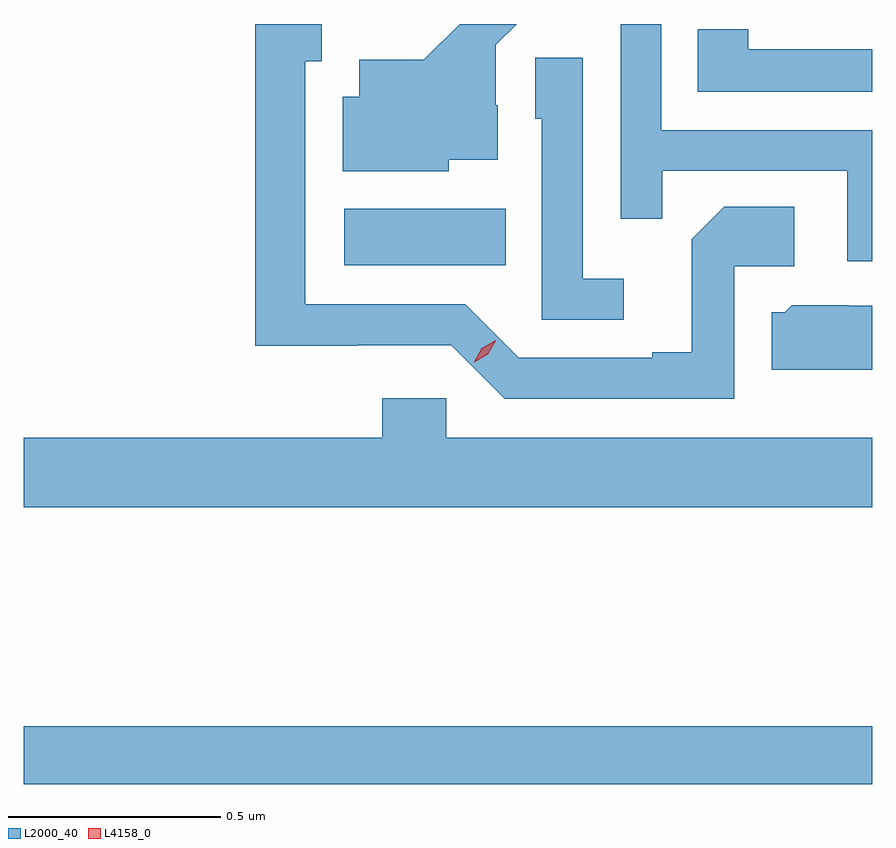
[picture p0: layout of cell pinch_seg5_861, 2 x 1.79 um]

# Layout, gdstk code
import gdstk
lib = gdstk.Library(unit=1e-6, precision=1e-09)
def R(c, l, rs):  # rectangles x0, y0, x1, y1
    for r in rs: c.add(gdstk.rectangle(r[:2], r[2:], *l))
def P(c, l, *ps):  # polygons
    for p in ps: c.add(gdstk.Polygon(p, *l))
L2000_40 = (2000, 40)
L4158_0 = (4158, 0)

pinch_seg5_861 = lib.new_cell('pinch_seg5_861')
R(pinch_seg5_861, L2000_40, [(772.65,890.74,774.65,890.876), (773.406,891.962,773.786,892.096)])
P(pinch_seg5_861, L2000_40, [(774.324,891.96),(774.466,891.96),(774.466,892.1),(774.301,892.1),(774.225,892.024),(774.225,891.757),(774.131,891.757),(774.131,891.744),(773.817,891.744),(773.691,891.87),(773.314,891.87),(773.314,892.443),(773.353,892.443),(773.353,892.531),(773.196,892.531),(773.196,891.773),(773.436,891.773),(773.436,891.774),(773.658,891.774),(773.784,891.648),(774.324,891.648)],
  [(773.652,892.211),(773.767,892.211),(773.767,892.34),(773.763,892.34),(773.763,892.482),(773.812,892.531),(773.678,892.531),(773.593,892.447),(773.441,892.447),(773.441,892.36),(773.402,892.36),(773.402,892.184),(773.652,892.184)],
  [(774.65,892.281),(774.153,892.281),(774.153,892.531),(774.057,892.531),(774.057,892.072),(774.155,892.072),(774.155,892.185),(774.591,892.185),(774.591,891.972),(774.65,891.972)],
  [(774.65,892.472),(774.357,892.472),(774.357,892.519),(774.238,892.519),(774.238,892.371),(774.65,892.371)],
  [(774.064,891.931),(773.967,891.931),(773.967,892.451),(773.856,892.451),(773.856,892.308),(773.871,892.308),(773.871,891.834),(774.064,891.834)],
  [(774.65,891.867),(774.594,891.867),(774.594,891.868),(774.46,891.868),(774.444,891.852),(774.413,891.852),(774.413,891.716),(774.65,891.716)],
  [(774.65,891.556),(773.646,891.556),(773.646,891.649),(773.495,891.649),(773.495,891.556),(772.65,891.556),(772.65,891.392),(774.65,891.392)])
P(pinch_seg5_861, L4158_0, [(773.712,891.734),(773.712,891.735),(773.73,891.767),(773.762,891.786),(773.762,891.786),(773.762,891.785),(773.744,891.753),(773.712,891.734)])

lib.write_gds('pinch_seg5_861.gds')
